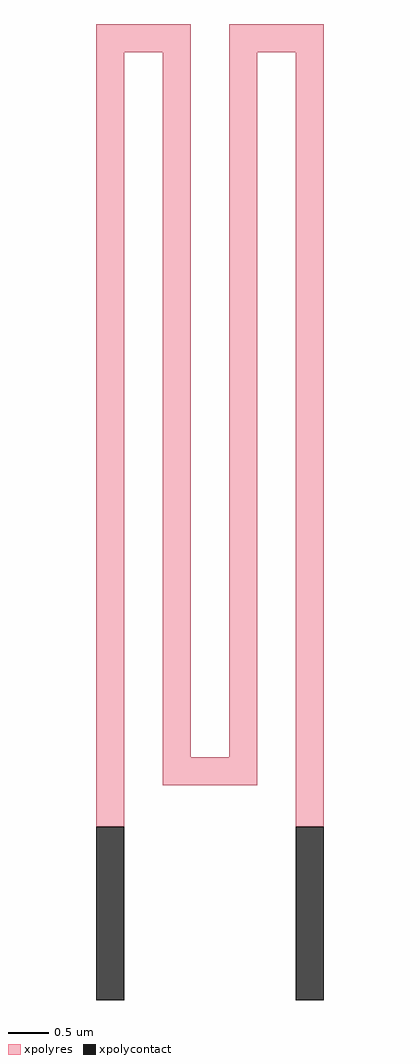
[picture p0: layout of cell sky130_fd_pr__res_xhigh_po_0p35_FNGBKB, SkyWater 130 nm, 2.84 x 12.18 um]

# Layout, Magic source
magic
tech sky130A
<< xpolycontact >>
rect -142 -609 -107 -393
rect 107 -609 142 -393
<< xpolyres >>
rect -142 574 -24 609
rect -142 -393 -107 574
rect -59 -306 -24 574
rect 24 574 142 609
rect 24 -306 59 574
rect -59 -341 59 -306
rect 107 -393 142 574
<< properties >>
string gencell sky130_fd_pr__res_xhigh_po_0p35
string library sky130
string parameters w 0.35 l 9.5 m 1 nx 4 wmin 0.350 lmin 0.50 rho 2000 val 224.218k dummy 0 dw 0.0 term 188.2 sterm 0.0 caplen 0 wmax 0.350 guard 0 glc 0 grc 0 gtc 0 gbc 0 compatible {sky130_fd_pr__res_xhigh_po_0p35  sky130_fd_pr__res_xhigh_po_0p69 sky130_fd_pr__res_xhigh_po_1p41  sky130_fd_pr__res_xhigh_po_2p85 sky130_fd_pr__res_xhigh_po_5p73} snake 1 full_metal 0 n_guard 0 hv_guard 0 vias 1 viagb 0 viagt 0 viagl 0 viagr 0
string sky130_fd_pr__res_xhigh_po_0p35_FNGBKB parameters
<< end >>
